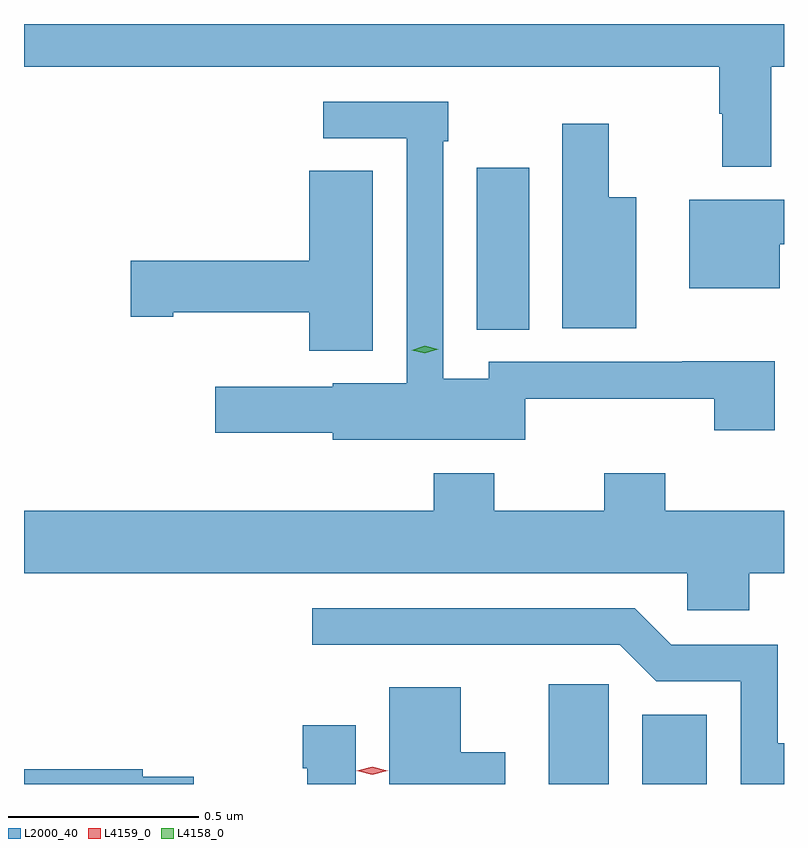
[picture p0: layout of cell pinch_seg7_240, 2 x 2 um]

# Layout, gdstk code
import gdstk
lib = gdstk.Library(unit=1e-6, precision=1e-09)
def R(c, l, rs):  # rectangles x0, y0, x1, y1
    for r in rs: c.add(gdstk.rectangle(r[:2], r[2:], *l))
def P(c, l, *ps):  # polygons
    for p in ps: c.add(gdstk.Polygon(p, *l))
L2000_40 = (2000, 40)
L4158_0 = (4158, 0)
L4159_0 = (4159, 0)

pinch_seg7_240 = lib.new_cell('pinch_seg7_240')
R(pinch_seg7_240, L2000_40, [(792.032,1029.365,792.19,1029.628), (792.278,1029.365,792.448,1029.547), (791.843,1030.561,791.98,1030.987)])
P(pinch_seg7_240, L2000_40, [(790.651,1031.252),(792.481,1031.252),(792.481,1031.129),(792.489,1031.129),(792.489,1030.989),(792.617,1030.989),(792.617,1031.252),(792.651,1031.252),(792.651,1031.365),(790.651,1031.365)],
  [(791.97,1030.379),(792.467,1030.379),(792.467,1030.296),(792.627,1030.296),(792.627,1030.478),(792.383,1030.478),(792.383,1030.476),(791.874,1030.476),(791.874,1030.432),(791.754,1030.432),(791.754,1031.057),(791.767,1031.057),(791.767,1031.16),(791.439,1031.16),(791.439,1031.064),(791.658,1031.064),(791.658,1030.42),(791.463,1030.42),(791.463,1030.411),(791.154,1030.411),(791.154,1030.289),(791.463,1030.289),(791.463,1030.271),(791.97,1030.271)],
  [(792.262,1030.909),(792.19,1030.909),(792.19,1031.103),(792.068,1031.103),(792.068,1030.565),(792.262,1030.565)],
  [(791.569,1030.979),(791.402,1030.979),(791.402,1030.742),(790.932,1030.742),(790.932,1030.595),(791.044,1030.595),(791.044,1030.607),(791.402,1030.607),(791.402,1030.505),(791.569,1030.505)],
  [(792.64,1030.785),(792.651,1030.785),(792.651,1030.903),(792.401,1030.903),(792.401,1030.67),(792.64,1030.67)],
  [(792.56,1029.92),(792.651,1029.92),(792.651,1030.084),(792.338,1030.084),(792.338,1030.183),(792.178,1030.183),(792.178,1030.084),(791.889,1030.084),(791.889,1030.183),(791.729,1030.183),(791.729,1030.084),(790.651,1030.084),(790.651,1029.92),(792.396,1029.92),(792.396,1029.822),(792.56,1029.822)],
  [(792.651,1029.472),(792.634,1029.472),(792.634,1029.732),(792.354,1029.732),(792.258,1029.828),(791.409,1029.828),(791.409,1029.732),(792.219,1029.732),(792.315,1029.636),(792.537,1029.636),(792.537,1029.365),(792.651,1029.365)],
  [(791.917,1029.448),(791.8,1029.448),(791.8,1029.619),(791.612,1029.619),(791.612,1029.365),(791.917,1029.365)],
  [(791.524,1029.52),(791.384,1029.52),(791.384,1029.407),(791.396,1029.407),(791.396,1029.365),(791.524,1029.365)],
  [(791.098,1029.384),(790.964,1029.384),(790.964,1029.404),(790.651,1029.404),(790.651,1029.365),(791.098,1029.365)])
P(pinch_seg7_240, L4158_0, [(791.706,1030.498),(791.672,1030.507),(791.671,1030.507),(791.672,1030.507),(791.706,1030.518),(791.741,1030.509),(791.741,1030.509),(791.741,1030.509)])
P(pinch_seg7_240, L4159_0, [(791.567,1029.39),(791.526,1029.4),(791.526,1029.4),(791.526,1029.4),(791.567,1029.41),(791.608,1029.4),(791.608,1029.4),(791.608,1029.4)])

lib.write_gds('pinch_seg7_240.gds')
